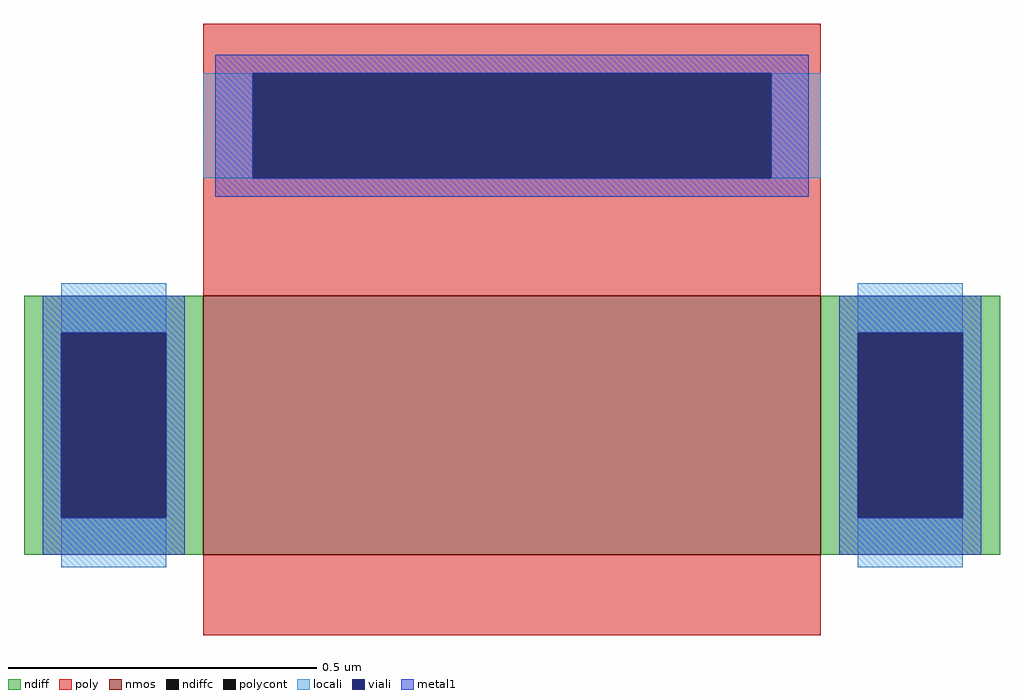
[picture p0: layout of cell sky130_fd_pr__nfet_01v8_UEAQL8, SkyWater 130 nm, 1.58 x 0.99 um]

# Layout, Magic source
magic
tech sky130A
magscale 1 2
<< nmos >>
rect -100 -73 100 11
<< ndiff >>
rect -158 -1 -100 11
rect -158 -61 -146 -1
rect -112 -61 -100 -1
rect -158 -73 -100 -61
rect 100 -1 158 11
rect 100 -61 112 -1
rect 146 -61 158 -1
rect 100 -73 158 -61
<< ndiffc >>
rect -146 -61 -112 -1
rect 112 -61 146 -1
<< poly >>
rect -100 83 100 99
rect -100 49 -84 83
rect 84 49 100 83
rect -100 11 100 49
rect -100 -99 100 -73
<< polycont >>
rect -84 49 84 83
<< locali >>
rect -100 49 -84 83
rect 84 49 100 83
rect -146 -1 -112 15
rect -146 -77 -112 -61
rect 112 -1 146 15
rect 112 -77 146 -61
<< viali >>
rect -84 49 84 83
rect -146 -61 -112 -1
rect 112 -61 146 -1
<< metal1 >>
rect -96 83 96 89
rect -96 49 -84 83
rect 84 49 96 83
rect -96 43 96 49
rect -152 -1 -106 11
rect -152 -61 -146 -1
rect -112 -61 -106 -1
rect -152 -73 -106 -61
rect 106 -1 152 11
rect 106 -61 112 -1
rect 146 -61 152 -1
rect 106 -73 152 -61
<< properties >>
string gencell sky130_fd_pr__nfet_01v8
string library sky130
string parameters w 0.420 l 1 m 1 nf 1 diffcov 100 polycov 100 guard 0 glc 1 grc 1 gtc 1 gbc 1 tbcov 100 rlcov 100 topc 1 botc 0 poverlap 0 doverlap 1 lmin 0.15 wmin 0.42 compatible {sky130_fd_pr__nfet_01v8 sky130_fd_pr__nfet_01v8_lvt  sky130_fd_bs_flash__special_sonosfet_star  sky130_fd_pr__nfet_g5v0d10v5 sky130_fd_pr__nfet_05v0_nvt  sky130_fd_pr__nfet_03v3_nvt} full_metal 1 viasrc 100 viadrn 100 viagate 100 viagb 0 viagr 0 viagl 0 viagt 0
<< end >>
